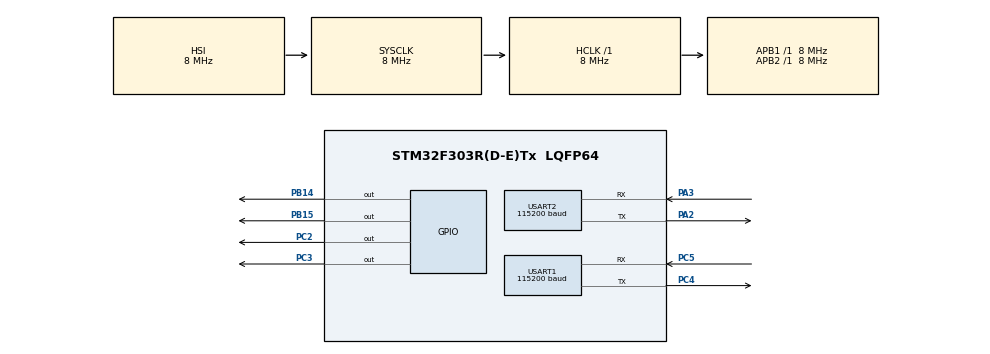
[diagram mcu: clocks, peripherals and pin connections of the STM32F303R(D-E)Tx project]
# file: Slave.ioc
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Mcu.Family=STM32F3
Mcu.Name=STM32F303R(D-E)Tx
Mcu.Package=LQFP64
NVIC.PriorityGroup=NVIC_PRIORITYGROUP_4
NVIC.TIM1_TRG_COM_TIM17_IRQn=true\:0\:0\:false\:false\:true\:true\:true\:true
NVIC.TIM1_UP_TIM16_IRQn=true\:0\:0\:false\:false\:true\:true\:true\:true
NVIC.USART1_IRQn=true\:0\:0\:false\:false\:true\:true\:true\:true
NVIC.USART2_IRQn=true\:0\:0\:false\:false\:true\:true\:true\:true
PA2.Mode=Asynchronous
PA2.Signal=USART2_TX
PA3.Mode=Asynchronous
PA3.Signal=USART2_RX
PB14.PinState=GPIO_PIN_SET
PB14.Signal=GPIO_Output
PB15.PinState=GPIO_PIN_SET
PB15.Signal=GPIO_Output
PC2.PinState=GPIO_PIN_SET
PC2.Signal=GPIO_Output
PC3.PinState=GPIO_PIN_SET
PC3.Signal=GPIO_Output
PC4.Mode=Asynchronous
PC4.Signal=USART1_TX
PC5.Mode=Asynchronous
PC5.Signal=USART1_RX
ProjectManager.HeapSize=0x200
ProjectManager.StackSize=0x400
ProjectManager.TargetToolchain=STM32CubeIDE
RCC.AHBFreq_Value=8000000
RCC.APB1Freq_Value=8000000
RCC.APB2Freq_Value=8000000
RCC.CortexFreq_Value=8000000
RCC.HSE_VALUE=8000000
RCC.HSI_VALUE=8000000
RCC.LSE_VALUE=32768
RCC.SYSCLKFreq_VALUE=8000000
RCC.USBFreq_Value=16000000
TIM16.Period=64934
TIM16.Prescaler=615
TIM17.Period=65216
TIM17.Prescaler=367
USART1.BaudRate=115200
USART1.VirtualMode-Asynchronous=VM_ASYNC
USART2.BaudRate=115200
USART2.VirtualMode-Asynchronous=VM_ASYNC
VP_TIM16_VS_ClockSourceINT.Mode=Enable_Timer
VP_TIM17_VS_ClockSourceINT.Mode=Enable_Timer
VP_WWDG_VS_WWDG.Mode=WWDG_Activate
WWDG.Counter=72
WWDG.Prescaler=WWDG_PRESCALER_4
WWDG.Window=70
board=custom

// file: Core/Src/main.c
/* USER CODE BEGIN Header */
/**
 ******************************************************************************
 * @file           : main.c
 * @brief          : Main program body
 ******************************************************************************
 * @attention
 *
 * Copyright (c) 2024 STMicroelectronics.
 * All rights reserved.
 *
 * This software is licensed under terms that can be found in the LICENSE file
 * in the root directory of this software component.
 * If no LICENSE file comes with this software, it is provided AS-IS.
 *
 ******************************************************************************
 */
/* USER CODE END Header */
#include "main.h"

/* USER CODE BEGIN Includes */
#include "flash_driver.h"
#include "crc_driver.h"

#include "stdio.h"
#include "stdlib.h"
#include "string.h"
#include <stdbool.h>
/* USER CODE END Includes */

/* USER CODE BEGIN PD */

//button states
#define RELAY1_ON 1
#define RELAY1_OFF 2
#define RELAY2_ON 3
#define RELAY2_OFF 4
#define RELAY3_ON 5
#define RELAY3_OFF 6
#define RELAY4_ON 7
#define RELAY4_OFF 8

//flash addresses
#define RELAY1_ADDRESS 0x0803F800	//page 127
#define RELAY2_ADDRESS 0x0803F000	//page 126
#define RELAY3_ADDRESS 0x0803E800	//page 125
#define RELAY4_ADDRESS 0x0803E000	//page 124
#define TEST_ADDRESS 0x0803D800		//page 123

/* USER CODE END PD */

UART_HandleTypeDef huart1;
UART_HandleTypeDef huart2;

WWDG_HandleTypeDef hwwdg;

void SystemClock_Config(void);
static void MX_GPIO_Init(void);
static void MX_USART2_UART_Init(void);
static void MX_USART1_UART_Init(void);
static void MX_WWDG_Init(void);
static void MX_TIM16_Init(void);
static void MX_TIM17_Init(void);

/* USER CODE BEGIN 0 */

uint64_t RxData[3];
bool rx_flag = false;
uint8_t errors = 0;
bool timer_flag = false;
bool error_flag = false;

//counts used for testing
uint32_t relay1_count = 0;
uint32_t relay2_count = 0;
uint32_t relay3_count = 0;
uint32_t relay4_count = 0;

//UART messages to communicate updates
uint8_t err_max[50] = "CRC ERROR detected over 10 times within 5 sec\n\r";
uint8_t relay1_msg[20] = "RELAY1 ON\n\r";
uint8_t relay2_msg[20] = "RELAY2 ON\n\r";
uint8_t relay3_msg[20] = "RELAY3 ON\n\r";
uint8_t relay4_msg[20] = "RELAY4 ON\n\r";
uint8_t wwdg_msg[20] = "Watchdog init\n\r";

/**
 * receives data with crc from transmitter every 10ms
 */
void HAL_UARTEx_RxEventCallback(UART_HandleTypeDef *huart, uint16_t Size)
{
	HAL_UARTEx_ReceiveToIdle_IT(&huart1, (uint8_t*)RxData, sizeof(RxData));
	rx_flag = true;
}

/**
 * decodes crc value and if the remainder is not zero, track an error in the data sent
 */
void crc_decode(){
	rx_flag = false;
	int shift = 60;
	int position = 0;
	uint64_t appended_data = RxData[1];
	uint64_t dividend = appended_data & 0xF000000000000000;
	dividend = dividend >> shift;
	uint64_t ans = crc_xor(dividend);

	uint64_t remain = crc_division(appended_data, position, shift, ans);
	if(remain != 0){
		errors++;
		if(!error_flag){
			LL_TIM_EnableCounter(TIM16);
			error_flag = true;
		}
	}
}

/* USER CODE END 0 */

int main(void)
{

  /* MCU Configuration--------------------------------------------------------*/

  /* Reset of all peripherals, Initializes the Flash interface and the Systick. */
  HAL_Init();

  /* Configure the system clock */
  SystemClock_Config();

  /* Initialize all configured peripherals */
  MX_GPIO_Init();
  MX_USART2_UART_Init();
  MX_USART1_UART_Init();
  MX_TIM16_Init();
  MX_TIM17_Init();
  /* USER CODE BEGIN 2 */
	LL_TIM_EnableCounter(TIM17);
	HAL_UARTEx_ReceiveToIdle_IT(&huart1, (uint8_t*)RxData, sizeof(RxData));
  /* USER CODE END 2 */

  /* Infinite loop */
	while (1)
	{

    /* USER CODE BEGIN 3 */

		//watchdog calibration
		if(LL_TIM_IsActiveFlag_UPDATE(TIM17)){
			LL_TIM_ClearFlag_UPDATE(TIM17);
			LL_TIM_DisableCounter(TIM17);
			MX_WWDG_Init();
			timer_flag = true;
			HAL_UART_Transmit(&huart2, wwdg_msg, 20, 10);
		}

		//relay logic
		if(rx_flag){
			if(timer_flag){
				HAL_WWDG_Refresh(&hwwdg);		//receiving timeout
			}
			crc_decode();

			switch(RxData[0]){
			case RELAY1_ON:
				HAL_GPIO_WritePin(GPIOC, GPIO_PIN_2, GPIO_PIN_RESET);
				HAL_UART_Transmit(&huart2, relay1_msg, 20, 10);
				relay1_count++;
				break;
			case RELAY1_OFF:
				HAL_GPIO_WritePin(GPIOC, GPIO_PIN_2, GPIO_PIN_SET);
				break;
			case RELAY2_ON:
				HAL_GPIO_WritePin(GPIOC, GPIO_PIN_3, GPIO_PIN_RESET);
				HAL_UART_Transmit(&huart2, relay2_msg, 20, 10);
				relay2_count++;
				break;
			case RELAY2_OFF:
				HAL_GPIO_WritePin(GPIOC, GPIO_PIN_3, GPIO_PIN_SET);
				break;
			case RELAY3_ON:
				HAL_GPIO_WritePin(GPIOB, GPIO_PIN_14, GPIO_PIN_RESET);
				HAL_UART_Transmit(&huart2, relay3_msg, 20, 10);
				relay3_count++;
				break;
			case RELAY3_OFF:
				HAL_GPIO_WritePin(GPIOB, GPIO_PIN_14, GPIO_PIN_SET);
				break;
			case RELAY4_ON:
				HAL_GPIO_WritePin(GPIOB, GPIO_PIN_15, GPIO_PIN_RESET);
				HAL_UART_Transmit(&huart2, relay4_msg, 20, 10);
				relay4_count++;
				break;
			case RELAY4_OFF:
				HAL_GPIO_WritePin(GPIOB, GPIO_PIN_15, GPIO_PIN_SET);
				break;
			default:
				HAL_GPIO_WritePin(GPIOC, GPIO_PIN_2, GPIO_PIN_SET);
				HAL_GPIO_WritePin(GPIOC, GPIO_PIN_3, GPIO_PIN_SET);
				HAL_GPIO_WritePin(GPIOB, GPIO_PIN_14, GPIO_PIN_SET);
				HAL_GPIO_WritePin(GPIOB, GPIO_PIN_15, GPIO_PIN_SET);
				break;
			}
		}

		//error reset
		if(LL_TIM_IsActiveFlag_UPDATE(TIM16)){
			LL_TIM_ClearFlag_UPDATE(TIM16);
			LL_TIM_DisableCounter(TIM16);
			error_flag = false;
			errors = 0;
		}
		if(errors > 10){
			HAL_UART_Transmit(&huart2, err_max, 50, 10);
		}
	}

  /* USER CODE END 3 */
}

void SystemClock_Config(void)
{
  RCC_OscInitTypeDef RCC_OscInitStruct = {0};
  RCC_ClkInitTypeDef RCC_ClkInitStruct = {0};
  RCC_PeriphCLKInitTypeDef PeriphClkInit = {0};

  /** Initializes the RCC Oscillators according to the specified parameters
  * in the RCC_OscInitTypeDef structure.
  */
  RCC_OscInitStruct.OscillatorType = RCC_OSCILLATORTYPE_HSI;
  RCC_OscInitStruct.HSIState = RCC_HSI_ON;
  RCC_OscInitStruct.HSICalibrationValue = RCC_HSICALIBRATION_DEFAULT;
  RCC_OscInitStruct.PLL.PLLState = RCC_PLL_NONE;
  if (HAL_RCC_OscConfig(&RCC_OscInitStruct) != HAL_OK)
  {
    Error_Handler();
  }

  /** Initializes the CPU, AHB and APB buses clocks
  */
  RCC_ClkInitStruct.ClockType = RCC_CLOCKTYPE_HCLK|RCC_CLOCKTYPE_SYSCLK
                              |RCC_CLOCKTYPE_PCLK1|RCC_CLOCKTYPE_PCLK2;
  RCC_ClkInitStruct.SYSCLKSource = RCC_SYSCLKSOURCE_HSI;
  RCC_ClkInitStruct.AHBCLKDivider = RCC_SYSCLK_DIV1;
  RCC_ClkInitStruct.APB1CLKDivider = RCC_HCLK_DIV1;
  RCC_ClkInitStruct.APB2CLKDivider = RCC_HCLK_DIV1;

  if (HAL_RCC_ClockConfig(&RCC_ClkInitStruct, FLASH_LATENCY_0) != HAL_OK)
  {
    Error_Handler();
  }
  PeriphClkInit.PeriphClockSelection = RCC_PERIPHCLK_USART1|RCC_PERIPHCLK_USART2
                              |RCC_PERIPHCLK_TIM16|RCC_PERIPHCLK_TIM17;
  PeriphClkInit.Usart1ClockSelection = RCC_USART1CLKSOURCE_PCLK2;
  PeriphClkInit.Usart2ClockSelection = RCC_USART2CLKSOURCE_PCLK1;
  PeriphClkInit.Tim16ClockSelection = RCC_TIM16CLK_HCLK;
  PeriphClkInit.Tim17ClockSelection = RCC_TIM17CLK_HCLK;
  if (HAL_RCCEx_PeriphCLKConfig(&PeriphClkInit) != HAL_OK)
  {
    Error_Handler();
  }
}

static void MX_TIM16_Init(void)
{

  /* USER CODE BEGIN TIM16_Init 0 */
	//f = 8Mhz / PSC				PSC = 615
	//T = (1 / f) * period = 5s		Period = 64934
  /* USER CODE END TIM16_Init 0 */

  LL_TIM_InitTypeDef TIM_InitStruct = {0};

  /* Peripheral clock enable */
  LL_APB2_GRP1_EnableClock(LL_APB2_GRP1_PERIPH_TIM16);

  /* TIM16 interrupt Init */
  NVIC_SetPriority(TIM1_UP_TIM16_IRQn, NVIC_EncodePriority(NVIC_GetPriorityGrouping(),0, 0));
  NVIC_EnableIRQ(TIM1_UP_TIM16_IRQn);

  TIM_InitStruct.Prescaler = 615;
  TIM_InitStruct.CounterMode = LL_TIM_COUNTERMODE_UP;
  TIM_InitStruct.Autoreload = 64934;
  TIM_InitStruct.ClockDivision = LL_TIM_CLOCKDIVISION_DIV1;
  TIM_InitStruct.RepetitionCounter = 0;
  LL_TIM_Init(TIM16, &TIM_InitStruct);
  LL_TIM_DisableARRPreload(TIM16);
  /* USER CODE BEGIN TIM16_Init 2 */

	LL_TIM_GenerateEvent_UPDATE(TIM16);

	LL_TIM_ClearFlag_UPDATE(TIM16);
  /* USER CODE END TIM16_Init 2 */

}

static void MX_TIM17_Init(void)
{

  /* USER CODE BEGIN TIM17_Init 0 */
	//f = 8MHz / PSC					PSC = 367
	//T = (1 / f) * period = 3s			Period = 65216
  /* USER CODE END TIM17_Init 0 */

  LL_TIM_InitTypeDef TIM_InitStruct = {0};

  /* Peripheral clock enable */
  LL_APB2_GRP1_EnableClock(LL_APB2_GRP1_PERIPH_TIM17);

  /* TIM17 interrupt Init */
  NVIC_SetPriority(TIM1_TRG_COM_TIM17_IRQn, NVIC_EncodePriority(NVIC_GetPriorityGrouping(),0, 0));
  NVIC_EnableIRQ(TIM1_TRG_COM_TIM17_IRQn);

  TIM_InitStruct.Prescaler = 367;
  TIM_InitStruct.CounterMode = LL_TIM_COUNTERMODE_UP;
  TIM_InitStruct.Autoreload = 65216;
  TIM_InitStruct.ClockDivision = LL_TIM_CLOCKDIVISION_DIV1;
  TIM_InitStruct.RepetitionCounter = 0;
  LL_TIM_Init(TIM17, &TIM_InitStruct);
  LL_TIM_DisableARRPreload(TIM17);
  /* USER CODE BEGIN TIM17_Init 2 */

	LL_TIM_GenerateEvent_UPDATE(TIM17);

	LL_TIM_ClearFlag_UPDATE(TIM17);
  /* USER CODE END TIM17_Init 2 */

}

static void MX_USART1_UART_Init(void)
{

  huart1.Instance = USART1;
  huart1.Init.BaudRate = 115200;
  huart1.Init.WordLength = UART_WORDLENGTH_8B;
  huart1.Init.StopBits = UART_STOPBITS_1;
  huart1.Init.Parity = UART_PARITY_NONE;
  huart1.Init.Mode = UART_MODE_TX_RX;
  huart1.Init.HwFlowCtl = UART_HWCONTROL_NONE;
  huart1.Init.OverSampling = UART_OVERSAMPLING_16;
  huart1.Init.OneBitSampling = UART_ONE_BIT_SAMPLE_DISABLE;
  huart1.AdvancedInit.AdvFeatureInit = UART_ADVFEATURE_NO_INIT;
  if (HAL_UART_Init(&huart1) != HAL_OK)
  {
    Error_Handler();
  }

}

static void MX_USART2_UART_Init(void)
{

  huart2.Instance = USART2;
  huart2.Init.BaudRate = 115200;
  huart2.Init.WordLength = UART_WORDLENGTH_8B;
  huart2.Init.StopBits = UART_STOPBITS_1;
  huart2.Init.Parity = UART_PARITY_NONE;
  huart2.Init.Mode = UART_MODE_TX_RX;
  huart2.Init.HwFlowCtl = UART_HWCONTROL_NONE;
  huart2.Init.OverSampling = UART_OVERSAMPLING_16;
  huart2.Init.OneBitSampling = UART_ONE_BIT_SAMPLE_DISABLE;
  huart2.AdvancedInit.AdvFeatureInit = UART_ADVFEATURE_NO_INIT;
  if (HAL_UART_Init(&huart2) != HAL_OK)
  {
    Error_Handler();
  }

}

static void MX_WWDG_Init(void)
{

  /* USER CODE BEGIN WWDG_Init 0 */
	//watch dog counter for window of 5 to 15 ms
  /* USER CODE END WWDG_Init 0 */

  /* USER CODE BEGIN WWDG_Init 1 */
	//counter = ((max_time * clk) / (4096 * prescalar)) + 64			= ((.015 * 8M) / (4096 * 4)) + 64 = 72
	//window = counter - ((min_time * clk) / (4096 * prescalar))		= 72 - ((0.005 * 8M) / (4096 * 4)) = 70
  /* USER CODE END WWDG_Init 1 */
  hwwdg.Instance = WWDG;
  hwwdg.Init.Prescaler = WWDG_PRESCALER_4;
  hwwdg.Init.Window = 70;
  hwwdg.Init.Counter = 72;
  hwwdg.Init.EWIMode = WWDG_EWI_DISABLE;
  if (HAL_WWDG_Init(&hwwdg) != HAL_OK)
  {
    Error_Handler();
  }

}

static void MX_GPIO_Init(void)
{
  GPIO_InitTypeDef GPIO_InitStruct = {0};

  /* GPIO Ports Clock Enable */
  __HAL_RCC_GPIOC_CLK_ENABLE();
  __HAL_RCC_GPIOA_CLK_ENABLE();
  __HAL_RCC_GPIOB_CLK_ENABLE();

  /*Configure GPIO pin Output Level */
  HAL_GPIO_WritePin(GPIOC, GPIO_PIN_2|GPIO_PIN_3, GPIO_PIN_SET);

  /*Configure GPIO pin Output Level */
  HAL_GPIO_WritePin(GPIOB, GPIO_PIN_14|GPIO_PIN_15, GPIO_PIN_SET);

  /*Configure GPIO pins : PC2 PC3 */
  GPIO_InitStruct.Pin = GPIO_PIN_2|GPIO_PIN_3;
  GPIO_InitStruct.Mode = GPIO_MODE_OUTPUT_PP;
  GPIO_InitStruct.Pull = GPIO_NOPULL;
  GPIO_InitStruct.Speed = GPIO_SPEED_FREQ_LOW;
  HAL_GPIO_Init(GPIOC, &GPIO_InitStruct);

  /*Configure GPIO pins : PB14 PB15 */
  GPIO_InitStruct.Pin = GPIO_PIN_14|GPIO_PIN_15;
  GPIO_InitStruct.Mode = GPIO_MODE_OUTPUT_PP;
  GPIO_InitStruct.Pull = GPIO_NOPULL;
  GPIO_InitStruct.Speed = GPIO_SPEED_FREQ_LOW;
  HAL_GPIO_Init(GPIOB, &GPIO_InitStruct);

}

void Error_Handler(void)
{
	__disable_irq();
	while (1)
	{
	}
}
